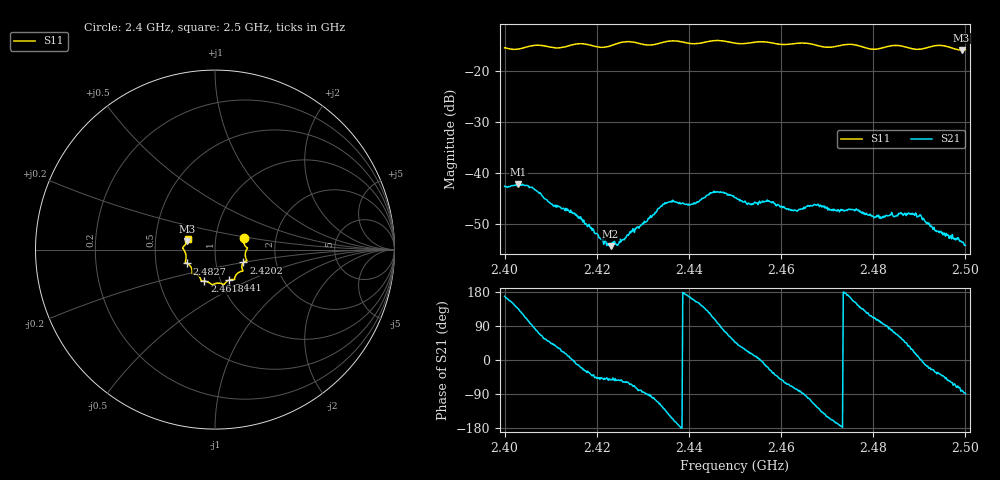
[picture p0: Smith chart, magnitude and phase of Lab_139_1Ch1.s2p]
# Hz S RI R
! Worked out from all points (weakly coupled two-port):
!   601 points, 2.4 GHz to 2.5 GHz, reference 50 ohm
!   highest |S21| = -42.20 dB at 2.403 GHz (marker M1); lowest = -54.4 dB at 2.423 GHz (marker M2)
!   lowest |S11| = -15.8 dB at 2.4992 GHz (marker M3), VSWR 1.39, Z = 36.4 + j3.63 ohm
!   |S11| at or under -10 dB: start of sweep to end of sweep
!   S12 and S22 are empty: the file has one direction only
!   S11 on the Smith chart (normalised r, x): 2.4 GHz: 1.36, +0.18; 2.4202 GHz: 1.36, -0.20; 2.441 GHz: 1.10, -0.39; 2.4618 GHz: 0.84, -0.30; 2.4827 GHz: 0.72, -0.11; 2.5 GHz: 0.73, +0.09
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2.4e9  0.1588 0.0628  -0.00725 0.00153  0 0  0 0
2.403e9  0.1634 0.0286  -0.00548 0.0055  0 0  0 0
2.406167e9  0.1791 0.0106  0.000206 0.00706  0 0  0 0
2.410167e9  0.1724 -0.0078  0.00355 0.00342  0 0  0 0
2.416667e9  0.1771 -0.0609  0.00325 -0.00122  0 0  0 0
2.420167e9  0.1587 -0.0713  0.00172 -0.00183  0 0  0 0
2.423e9  0.1495 -0.0974  0.00119 -0.00148  0 0  0 0
2.424833e9  0.1537 -0.1125  0.00121 -0.00164  0 0  0 0
2.433333e9  0.1116 -0.1507  -0.00166 -0.00415  0 0  0 0
2.436167e9  0.1088 -0.1672  -0.00464 -0.00252  0 0  0 0
2.441e9  0.0788 -0.1698  -0.00467 0.0018  0 0  0 0
2.4455e9  0.0507 -0.1944  -0.00215 0.00625  0 0  0 0
2.45e9  0.0285 -0.1875  0.00395 0.00414  0 0  0 0
2.457333e9  -0.0214 -0.1919  0.00489 -0.00209  0 0  0 0
2.461833e9  -0.0591 -0.1753  0.00178 -0.00403  0 0  0 0
2.466667e9  -0.0788 -0.1682  -0.00165 -0.00447  0 0  0 0
2.482667e9  -0.1559 -0.077  -9.92e-05 0.00377  0 0  0 0
2.483333e9  -0.1602 -0.0749  0.00051 0.00375  0 0  0 0
2.489667e9  -0.1623 -0.0289  0.00365 0.000706  0 0  0 0
2.493833e9  -0.18 0.00861  0.00212 -0.00158  0 0  0 0
2.499167e9  -0.155 0.0485  0.000358 -0.00206  0 0  0 0
2.5e9  -0.1523 0.0604  5.14e-05 -0.00194  0 0  0 0
